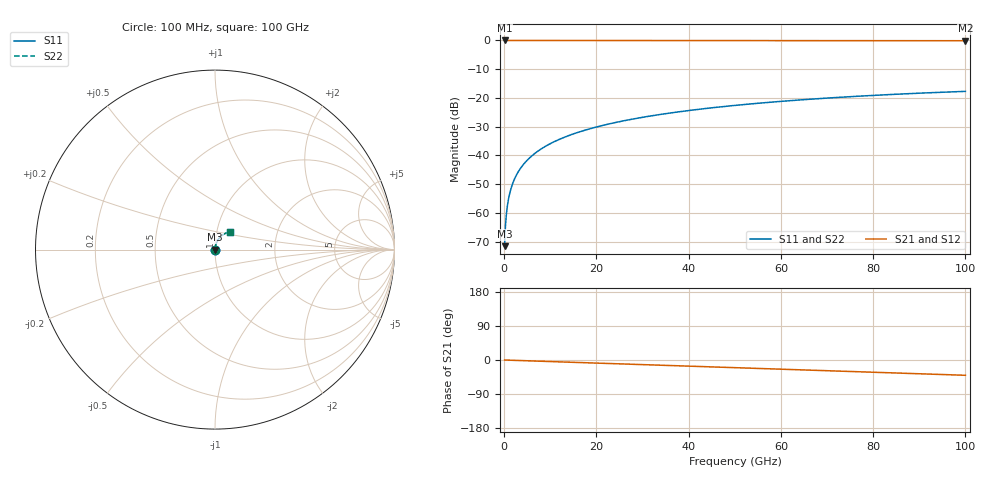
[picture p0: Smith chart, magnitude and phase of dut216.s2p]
! Touchstone file exported from HFSS 2026.1.0
!  File:  C:/ffzhzh/LocalFiles/Ansys_Project_Files/temp_train_TSV_216_1783507742_31944.aedt
!  Generated:  06:50:21 PM Jul  8, 2026
!  Design:  TSV
!  Project:  temp_train_TSV_216_1783507742_31944
! Variables:
!  h_bsmrdl = 2um
!  h_ox = 20um
!  h_rdl = 5um
!  h_sub = 78.74um
!  h_tmrdl = 5um
!  h_tsv = 78.74um
!  h_via = 3um
!  l_bsmrdl = 300um
!  l_sub = 416.22um
!  l_tmrdl = 200um
!  m_sub = 200um
!  pitch = 43.23um
!  r_tsv = 8.11um
!  s_tmrdl = 10um
!  w_bsmrdl = 18um
!  w_sub = 500um
!  w_tmrdl = 12um
!  x_tsv_center1 = 206um
!  x_tsv_center2 = 524um
!  x_tsv_center3 = 736um
!  x_tsv_center4 = 1054um
!  x_tsv_center5 = 1266um
!  x_tsv_center6 = 1584um
# GHz S MA R 50.000000
! Terminal data exported
! Port[1] = TSV1_1_T1
! Port[2] = TSV1_1_T2
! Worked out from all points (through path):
!   1000 points, 100 MHz to 100 GHz, reference 50 ohm
!   highest |S21| = 0.00 dB at 100 MHz (marker M1); lowest = -0.1 dB at 100 GHz (marker M2)
!   group delay of S21, straight-line fit = 1.12 ps
!   lowest |S11| = -71.6 dB at 100 MHz (marker M3), VSWR 1.00, Z = 50 + j0.0199 ohm
!   |S11| at or under -10 dB: start of sweep to end of sweep
!   |S22| runs from -71.6 to -17.7 dB; largest |S21 - S12| = 2.6e-15
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0.1  0.0002639 49.0  0.9998 -0.0  0.9998 -0.0  0.0002639 49.0
! Gamma 0 0 0 0
! Port Impedance 50 0 50 0
0.4  0.0007983 73.7  0.9998 -0.2  0.9998 -0.2  0.0007983 73.7
0.7  0.001322 77.7  0.9997 -0.3  0.9997 -0.3  0.001322 77.7
0.8  0.001492 78.4  0.9997 -0.3  0.9997 -0.3  0.001492 78.4
1  0.001831 79.5  0.9997 -0.4  0.9997 -0.4  0.001831 79.5
1.3  0.002334 80.6  0.9996 -0.5  0.9996 -0.5  0.002334 80.6
1.7  0.002997 81.4  0.9996 -0.7  0.9996 -0.7  0.002997 81.4
2.3  0.003976 82.0  0.9995 -1.0  0.9995 -1.0  0.003976 82.0
3  0.005098 82.4  0.9994 -1.2  0.9994 -1.2  0.005098 82.4
3.8  0.006365 82.7  0.9993 -1.6  0.9993 -1.6  0.006365 82.7
4.8  0.007936 82.9  0.9993 -2.0  0.9993 -2.0  0.007936 82.9
6  0.009812 82.9  0.9992 -2.5  0.9992 -2.5  0.009812 82.9
8.8  0.01416 82.5  0.9989 -3.6  0.9989 -3.6  0.01416 82.5
12.4  0.01969 81.5  0.9986 -5.1  0.9986 -5.1  0.01969 81.5
16.8  0.02639 80.2  0.9983 -6.9  0.9983 -6.9  0.02639 80.2
24.2  0.03748 77.7  0.9977 -9.9  0.9977 -9.9  0.03748 77.7
33.4  0.05097 74.3  0.9968 -13.6  0.9968 -13.6  0.05097 74.3
41.2  0.06206 71.4  0.996 -16.7  0.996 -16.7  0.06206 71.4
50.1  0.07425 67.9  0.9949 -20.3  0.9949 -20.3  0.07425 67.9
66.7  0.09547 61.5  0.9928 -27.0  0.9928 -27.0  0.09547 61.5
83.4  0.1144 54.9  0.9905 -33.7  0.9905 -33.7  0.1144 54.9
100  0.1301 48.4  0.9882 -40.3  0.9882 -40.3  0.1301 48.4
